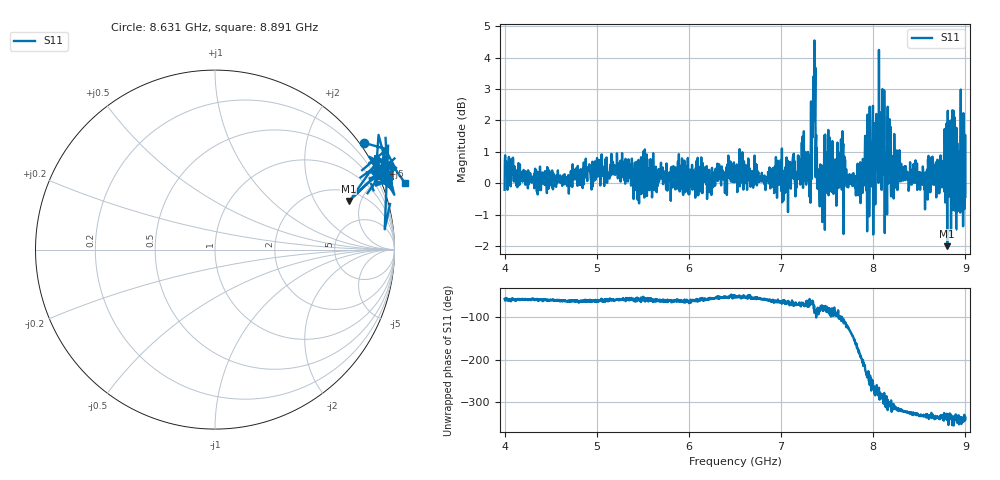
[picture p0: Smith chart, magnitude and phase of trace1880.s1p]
! Created with skrf 1.8.0 (http://scikit-rf.org).
# Hz S RI R 50.0
!freq ReS11 ImS11
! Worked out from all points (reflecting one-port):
!   1601 points, 4 GHz to 9 GHz, reference 50 ohm
!   lowest |S11| = -2.0 dB at 8.803 GHz (marker M1), VSWR 8.71, Z = 134 + j197 ohm
!   phase of S11 starts at -57 deg and turns -279 deg over the sweep
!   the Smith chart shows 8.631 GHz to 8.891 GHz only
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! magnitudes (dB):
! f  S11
! 4 GHz  -0.2
! 4.069 GHz  0.4
! 4.625 GHz  -0.1
! 5.25 GHz  0.2
! 5.875 GHz  0.1
! 6.5 GHz  0.3
! 7.038 GHz  0.0
! 7.125 GHz  0.7
! 7.294 GHz  0.1
! 7.319 GHz  -0.6
! 7.347 GHz  2.6
! 7.372 GHz  3.7
! 7.4 GHz  0.2
! 7.438 GHz  0.0
! 7.512 GHz  1.7
! 7.65 GHz  1.4
! 7.75 GHz  0.0
! 7.859 GHz  0.7
! 8.088 GHz  0.6
! 8.15 GHz  -1.0
! 8.178 GHz  2.0
! 8.216 GHz  0.9
! 8.375 GHz  0.3
! 8.566 GHz  0.3
! 8.803 GHz  -2.0
! 8.919 GHz  -0.4
! 8.959 GHz  2.0
! 9 GHz  -0.4
